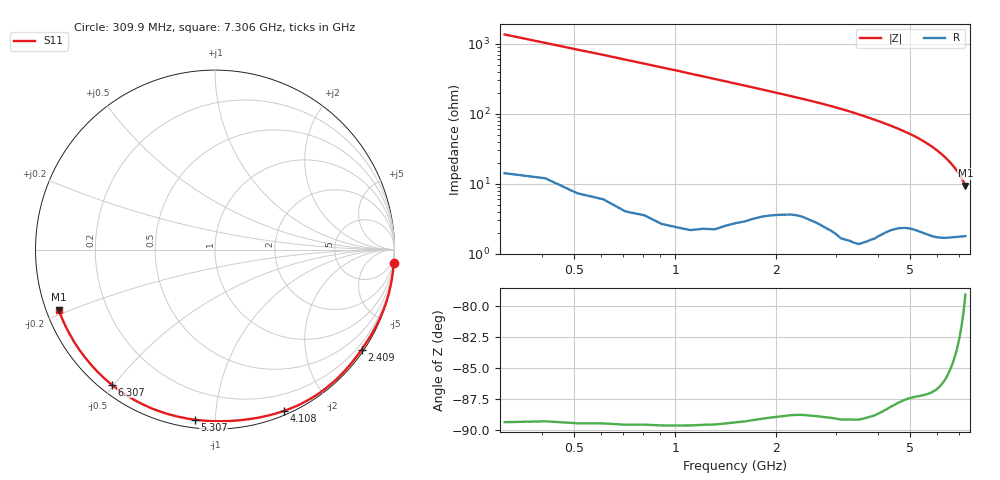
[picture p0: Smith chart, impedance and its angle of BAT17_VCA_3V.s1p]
! Infineon Technologies  Discrete & RF Semiconductors
! BAT17
! VCA = 3 V
! One-Port S-Parameters
# Hz  S  MA  R  50
!f  S11
!Hz  Mag  Ang
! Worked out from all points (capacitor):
!   71 points, 309.9 MHz to 7.306 GHz, reference 50 ohm
!   read as one part to ground: C = 377 fF near 309.9 MHz
!   lowest |Z| = 9.42 ohm at 7.306 GHz (marker M1)
!   S11 on the Smith chart (normalised r, x): 309.9 MHz: 0, -27; 2.409 GHz: 0.07, -3.24; 4.108 GHz: 0.04, -1.52; 5.307 GHz: 0.04, -0.89; 6.307 GHz: 0.03, -0.49; 7.306 GHz: 0.04, -0.18
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3.0985e8  0.9992 -4.2
8.096e8  0.9987 -11.0
1.2094e9  0.9981 -16.6
1.6092e9  0.9957 -22.4
2.10895e9  0.9906 -29.7
2.4088e9  0.9885 -34.3
2.70865e9  0.9886 -39.0
3.0085e9  0.9893 -44.2
3.2084e9  0.9896 -47.9
3.4083e9  0.9891 -51.8
3.6082e9  0.9876 -55.8
3.8081e9  0.9843 -60.1
4.10795e9  0.9777 -66.8
4.4078e9  0.9689 -73.7
4.70765e9  0.9615 -81.0
5.0075e9  0.9564 -88.7
5.30735e9  0.9543 -96.8
5.4073e9  0.9538 -99.7
5.6072e9  0.9531 -105.6
5.8071e9  0.9524 -111.7
5.90705e9  0.9515 -114.8
6.10695e9  0.9497 -121.1
6.30685e9  0.9472 -127.4
6.50675e9  0.9442 -133.8
6.70665e9  0.9411 -140.2
6.90655e9  0.9384 -146.5
7.10645e9  0.9358 -152.8
7.30635e9  0.9333 -159.0
